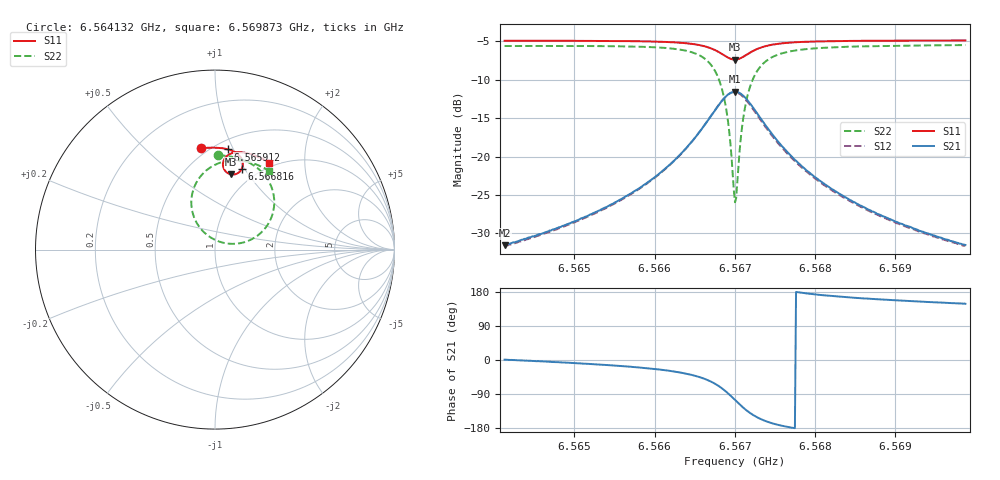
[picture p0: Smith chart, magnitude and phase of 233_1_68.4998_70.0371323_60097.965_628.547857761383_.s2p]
#  HZ  S  RI  R  50.00
! Rohde & Schwarz Vector Network Analyzer
! Rohde-Schwarz,ZNB20-2Port,1311601062101988,3.16
! Created: UTC 3/20/2024, 4:59:01 PM
! freq[Hz]  re:S11  im:S11  re:S21  im:S21  re:S12  im:S12  re:S22  im:S22
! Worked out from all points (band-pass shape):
!   401 points, 6.564132 GHz to 6.569873 GHz, reference 50 ohm
!   highest |S21| = -11.54 dB at 6.567003 GHz (marker M1); lowest = -31.6 dB at 6.564132 GHz (marker M2)
!   |S21| within 3 dB of the highest: 6.566714 GHz to 6.56729 GHz (575.5 kHz wide, 0.00876 % of centre)
!   lowest |S11| = -7.4 dB at 6.567003 GHz (marker M3), VSWR 2.50, Z = 40.5 + j41.6 ohm
!   |S11| at or under -10 dB: nowhere
!   |S22| runs from -26.0 to -5.5 dB; largest |S21 - S12| = 0.012
!   S11 on the Smith chart (normalised r, x): 6.564132 GHz: 0.46, +0.76; 6.565912 GHz: 0.58, +0.95; 6.566816 GHz: 0.84, +0.97; 6.569873 GHz: 0.93, +1.34
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6.564132e9  -0.08 0.5635  0.0264 0.000461  0.0261 -6.44e-05  0.019 0.525
6.5650937e9  -0.00207 0.568  0.0392 -0.00648  0.0385 -0.00691  0.1074 0.5142
6.5659118e9  0.072 0.5583  0.063 -0.0251  0.0619 -0.0259  0.2071 0.4749
6.5660553e9  0.0868 0.5537  0.0699 -0.0326  0.0689 -0.0335  0.2296 0.4596
6.5663568e9  0.1203 0.5366  0.0891 -0.0611  0.0877 -0.0625  0.2853 0.4031
6.5665864e9  0.1463 0.5084  0.103 -0.1103  0.1007 -0.1124  0.3261 0.3083
6.5667156e9  0.1549 0.48  0.0987 -0.16  0.0946 -0.1629  0.3247 0.2136
6.5668161e9  0.1495 0.4506  0.0721 -0.2104  0.0655 -0.2133  0.279 0.1184
6.5669022e9  0.1287 0.4268  0.0199 -0.2494  0.0102 -0.2499  0.184 0.0482
6.5669309e9  0.1183 0.4216  -0.00394 -0.257  -0.0145 -0.2562  0.1406 0.0358
6.5669883e9  0.0937 0.4184  -0.0571 -0.2583  -0.0679 -0.2538  0.0466 0.0379
6.5670027e9  0.0875 0.4194  -0.0705 -0.2554  -0.0811 -0.2498  0.0234 0.0446
6.5670314e9  0.0757 0.4235  -0.0956 -0.2455  -0.1055 -0.2382  -0.02 0.0649
6.5670888e9  0.0566 0.4384  -0.137 -0.2135  -0.1438 -0.2037  -0.0871 0.126
6.5671318e9  0.048 0.4534  -0.1568 -0.1837  -0.1612 -0.1733  -0.1168 0.1807
6.5671893e9  0.0441 0.4735  -0.1695 -0.1438  -0.171 -0.1337  -0.1317 0.2518
6.567261e9  0.0481 0.4954  -0.1695 -0.101  -0.1683 -0.0926  -0.1232 0.3259
6.5675194e9  0.0871 0.5344  -0.1271 -0.0221  -0.1243 -0.0184  -0.0272 0.4569
6.5679643e9  0.1455 0.5425  -0.0755 0.00786  -0.0738 0.00914  0.0933 0.4968
6.568438e9  0.1918 0.5339  -0.0503 0.0135  -0.0492 0.0139  0.1684 0.4924
6.568926e9  0.2324 0.52  -0.0365 0.0144  -0.0357 0.0146  0.2228 0.4774
6.5698734e9  0.3011 0.4851  -0.0226 0.0139  -0.0221 0.014  0.3024 0.4387
